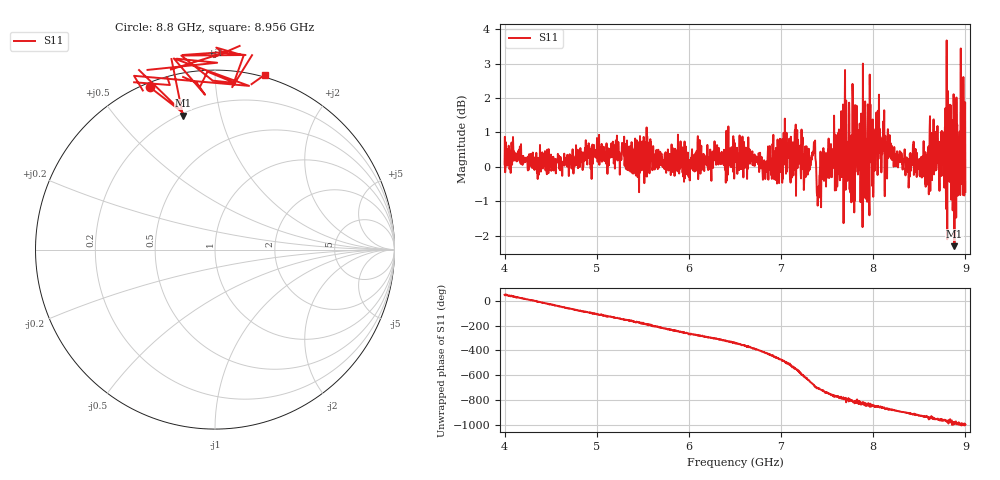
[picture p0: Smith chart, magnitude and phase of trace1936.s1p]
! Created with skrf 1.8.0 (http://scikit-rf.org).
# Hz S RI R 50.0
!freq ReS11 ImS11
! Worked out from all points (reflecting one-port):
!   1601 points, 4 GHz to 9 GHz, reference 50 ohm
!   lowest |S11| = -2.3 dB at 8.881 GHz (marker M1), VSWR 7.58, Z = 10.6 + j38.3 ohm
!   phase of S11 starts at 50 deg and turns -1048 deg over the sweep
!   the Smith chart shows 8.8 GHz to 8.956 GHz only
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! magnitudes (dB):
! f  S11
! 4 GHz  0.1
! 4.625 GHz  -0.3
! 4.897 GHz  0.1
! 5.25 GHz  -0.2
! 5.875 GHz  0.3
! 6.5 GHz  0.7
! 6.825 GHz  0.0
! 7.125 GHz  0.5
! 7.272 GHz  0.1
! 7.353 GHz  0.5
! 7.409 GHz  -0.9
! 7.444 GHz  -0.3
! 7.622 GHz  0.9
! 7.669 GHz  -0.1
! 7.75 GHz  0.0
! 7.775 GHz  2.4
! 7.834 GHz  -0.2
! 7.934 GHz  -1.0
! 8.05 GHz  1.6
! 8.375 GHz  0.0
! 8.584 GHz  0.3
! 8.656 GHz  1.4
! 8.766 GHz  0.5
! 8.822 GHz  1.2
! 8.844 GHz  -1.0
! 8.881 GHz  -2.3
! 8.972 GHz  1.0
! 9 GHz  -0.7
